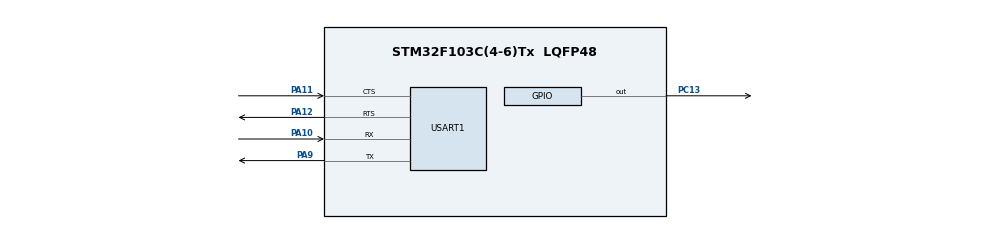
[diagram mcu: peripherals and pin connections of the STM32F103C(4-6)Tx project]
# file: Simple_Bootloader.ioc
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Mcu.Family=STM32F1
Mcu.Name=STM32F103C(4-6)Tx
Mcu.Package=LQFP48
NVIC.PriorityGroup=NVIC_PRIORITYGROUP_4
PA10.Mode=Asynchronous
PA10.Signal=USART1_RX
PA11.Mode=CTS_RTS
PA11.Signal=USART1_CTS
PA12.Mode=CTS_RTS
PA12.Signal=USART1_RTS
PA9.Mode=Asynchronous
PA9.Signal=USART1_TX
PC13-TAMPER-RTC.Signal=GPIO_Output
PD0-OSC_IN.Mode=HSE-External-Oscillator
PD0-OSC_IN.Signal=RCC_OSC_IN
PD1-OSC_OUT.Mode=HSE-External-Oscillator
PD1-OSC_OUT.Signal=RCC_OSC_OUT
ProjectManager.HeapSize=0x200
ProjectManager.StackSize=0x400
ProjectManager.TargetToolchain=STM32CubeIDE
RCC.APB1Freq_Value=8000000
RCC.APB2Freq_Value=8000000
USART1.VirtualMode=VM_ASYNC
VP_CRC_VS_CRC.Mode=CRC_Activate
VP_SYS_VS_ND.Mode=No_Debug
board=custom

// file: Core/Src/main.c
/* USER CODE BEGIN Header */
/**
  ******************************************************************************
  * @file           : main.c
  * @brief          : Main program body
  ******************************************************************************
  * @attention
  *
  * Copyright (c) 2025 STMicroelectronics.
  * All rights reserved.
  *
  * This software is licensed under terms that can be found in the LICENSE file
  * in the root directory of this software component.
  * If no LICENSE file comes with this software, it is provided AS-IS.
  *
  ******************************************************************************
  */
/* USER CODE END Header */
#include "main.h"

/* USER CODE BEGIN Includes */
#include <stdio.h>
#include <string.h>

/* USER CODE END Includes */

/* USER CODE BEGIN PM */
#define MAJOR 0
#define MINOR 1
/* USER CODE END PM */

CRC_HandleTypeDef hcrc;

UART_HandleTypeDef huart1;

/* USER CODE BEGIN PV */
uint8_t BL_Version[2] = {MAJOR,MINOR};
/* USER CODE END PV */

void SystemClock_Config(void);
static void MX_GPIO_Init(void);
static void MX_CRC_Init(void);
static void MX_USART1_UART_Init(void);
/* USER CODE BEGIN PFP */
static void goto_application(void);
/* USER CODE END PFP */

int main(void)
{

  /* MCU Configuration--------------------------------------------------------*/

  /* Reset of all peripherals, Initializes the Flash interface and the Systick. */
  HAL_Init();

  /* Configure the system clock */
  SystemClock_Config();

  /* Initialize all configured peripherals */
  MX_GPIO_Init();
  MX_CRC_Init();
  MX_USART1_UART_Init();
  /* USER CODE BEGIN 2 */
printf("Bootloader %d:%d Started!!", BL_Version[0],BL_Version[1]);
  /* USER CODE END 2 */

  /* Infinite loop */
  /* USER CODE BEGIN WHILE */
	uint8_t i;
  while (1)
  {
    /* USER CODE END WHILE */

    /* USER CODE BEGIN 3 */
	  for (i=0;i<5;i++)
	  {
		  HAL_GPIO_TogglePin(GPIOC, GPIO_PIN_13);
		  HAL_Delay(100);
	  }

	  goto_application();
  }
  /* USER CODE END 3 */
}

void SystemClock_Config(void)
{
  RCC_OscInitTypeDef RCC_OscInitStruct = {0};
  RCC_ClkInitTypeDef RCC_ClkInitStruct = {0};

  /** Initializes the RCC Oscillators according to the specified parameters
  * in the RCC_OscInitTypeDef structure.
  */
  RCC_OscInitStruct.OscillatorType = RCC_OSCILLATORTYPE_HSI;
  RCC_OscInitStruct.HSIState = RCC_HSI_ON;
  RCC_OscInitStruct.HSICalibrationValue = RCC_HSICALIBRATION_DEFAULT;
  RCC_OscInitStruct.PLL.PLLState = RCC_PLL_NONE;
  if (HAL_RCC_OscConfig(&RCC_OscInitStruct) != HAL_OK)
  {
    Error_Handler();
  }

  /** Initializes the CPU, AHB and APB buses clocks
  */
  RCC_ClkInitStruct.ClockType = RCC_CLOCKTYPE_HCLK|RCC_CLOCKTYPE_SYSCLK
                              |RCC_CLOCKTYPE_PCLK1|RCC_CLOCKTYPE_PCLK2;
  RCC_ClkInitStruct.SYSCLKSource = RCC_SYSCLKSOURCE_HSI;
  RCC_ClkInitStruct.AHBCLKDivider = RCC_SYSCLK_DIV1;
  RCC_ClkInitStruct.APB1CLKDivider = RCC_HCLK_DIV1;
  RCC_ClkInitStruct.APB2CLKDivider = RCC_HCLK_DIV1;

  if (HAL_RCC_ClockConfig(&RCC_ClkInitStruct, FLASH_LATENCY_0) != HAL_OK)
  {
    Error_Handler();
  }
}

static void MX_CRC_Init(void)
{

  hcrc.Instance = CRC;
  if (HAL_CRC_Init(&hcrc) != HAL_OK)
  {
    Error_Handler();
  }

}

static void MX_USART1_UART_Init(void)
{

  huart1.Instance = USART1;
  huart1.Init.BaudRate = 115200;
  huart1.Init.WordLength = UART_WORDLENGTH_8B;
  huart1.Init.StopBits = UART_STOPBITS_1;
  huart1.Init.Parity = UART_PARITY_NONE;
  huart1.Init.Mode = UART_MODE_TX_RX;
  huart1.Init.HwFlowCtl = UART_HWCONTROL_RTS_CTS;
  huart1.Init.OverSampling = UART_OVERSAMPLING_16;
  if (HAL_UART_Init(&huart1) != HAL_OK)
  {
    Error_Handler();
  }

}

static void MX_GPIO_Init(void)
{
  GPIO_InitTypeDef GPIO_InitStruct = {0};

  /* GPIO Ports Clock Enable */
  __HAL_RCC_GPIOC_CLK_ENABLE();
  __HAL_RCC_GPIOD_CLK_ENABLE();
  __HAL_RCC_GPIOA_CLK_ENABLE();

  /*Configure GPIO pin Output Level */
  HAL_GPIO_WritePin(GPIOC, GPIO_PIN_13, GPIO_PIN_RESET);

  /*Configure GPIO pin : PC13 */
  GPIO_InitStruct.Pin = GPIO_PIN_13;
  GPIO_InitStruct.Mode = GPIO_MODE_OUTPUT_PP;
  GPIO_InitStruct.Pull = GPIO_NOPULL;
  GPIO_InitStruct.Speed = GPIO_SPEED_FREQ_LOW;
  HAL_GPIO_Init(GPIOC, &GPIO_InitStruct);

}

/* USER CODE BEGIN 4 */
#ifdef __GNUC__
int __io_putchar(int ch)
#else
int fputc(int ch, FILE *f)
#endif
{
	HAL_UART_Transmit(&huart1, (uint8_t *)&ch, 1, HAL_MAX_DELAY);
	return ch;
}

static void goto_application(void)
{
	printf("Jump to Application...\n");
	void(*app_reset_handler)(void) = (void*)(*((volatile uint32_t*)(0x8004400+4U)));

	app_reset_handler();
}

/* USER CODE END 4 */

void Error_Handler(void)
{
  __disable_irq();
  while (1)
  {
  }
}
